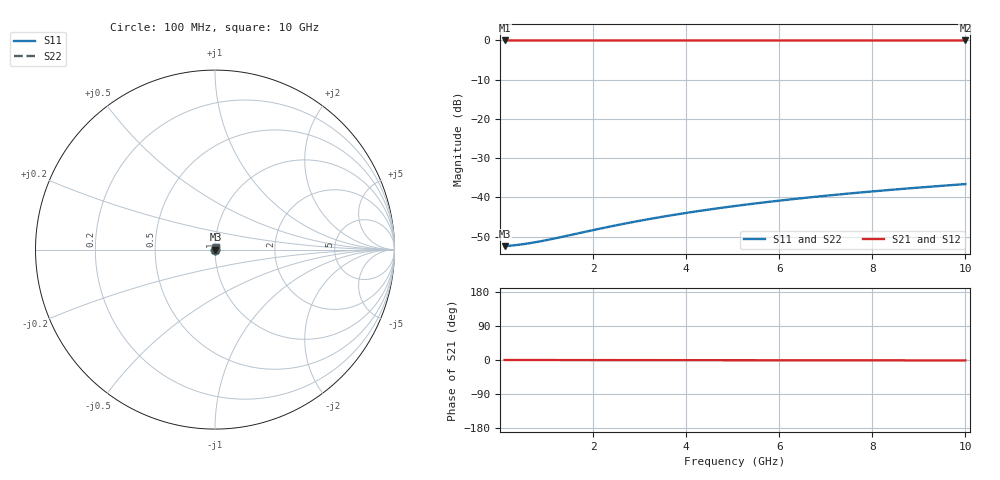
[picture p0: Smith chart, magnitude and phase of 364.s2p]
# Hz S RI R 50.00
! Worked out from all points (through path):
!   100 points, 100 MHz to 10 GHz, reference 50 ohm
!   highest |S21| = -0.02 dB at 100 MHz (marker M1); lowest = 0.0 dB at 10 GHz (marker M2)
!   lowest |S11| = -52.4 dB at 100 MHz (marker M3), VSWR 1.00, Z = 50.2 + j0.0146 ohm
!   |S11| at or under -10 dB: start of sweep to end of sweep
!   |S22| runs from -52.4 to -36.6 dB; largest |S21 - S12| = 0
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1e8  0.00239 0.000145  0.9976 -0.0002  0.9976 -0.0002  0.00239 0.000145
3e8  0.00242 0.000435  0.9976 -0.000601  0.9976 -0.000601  0.00242 0.000435
4e8  0.00243 0.00058  0.9976 -0.000801  0.9976 -0.000801  0.00243 0.00058
6e8  0.00244 0.000869  0.9976 -0.0012  0.9976 -0.0012  0.00244 0.000869
8e8  0.00245 0.00116  0.9975 -0.0016  0.9975 -0.0016  0.00245 0.00116
1e9  0.00247 0.00145  0.9975 -0.002  0.9975 -0.002  0.00247 0.00145
1.2e9  0.00248 0.00174  0.9975 -0.0024  0.9975 -0.0024  0.00248 0.00174
1.8e9  0.0025 0.00261  0.9975 -0.00361  0.9975 -0.00361  0.0025 0.00261
2.2e9  0.00252 0.00319  0.9975 -0.00441  0.9975 -0.00441  0.00252 0.00319
2.6e9  0.00253 0.00377  0.9975 -0.00521  0.9975 -0.00521  0.00253 0.00377
3e9  0.00255 0.00435  0.9974 -0.00601  0.9974 -0.00601  0.00255 0.00435
3.4e9  0.00256 0.00493  0.9974 -0.00681  0.9974 -0.00681  0.00256 0.00493
3.8e9  0.00258 0.00551  0.9974 -0.00761  0.9974 -0.00761  0.00258 0.00551
4.2e9  0.00259 0.00608  0.9974 -0.00841  0.9974 -0.00841  0.00259 0.00608
4.6e9  0.00261 0.00666  0.9974 -0.00922  0.9974 -0.00922  0.00261 0.00666
5.1e9  0.00263 0.00739  0.9974 -0.0102  0.9974 -0.0102  0.00263 0.00739
5.9e9  0.00267 0.00855  0.9973 -0.0118  0.9973 -0.0118  0.00267 0.00855
6.7e9  0.00271 0.00971  0.9973 -0.0134  0.9973 -0.0134  0.00271 0.00971
7.5e9  0.00275 0.0109  0.9972 -0.015  0.9972 -0.015  0.00275 0.0109
8.4e9  0.0028 0.0122  0.9972 -0.0168  0.9972 -0.0168  0.0028 0.0122
9.2e9  0.00285 0.0133  0.9971 -0.0184  0.9971 -0.0184  0.00285 0.0133
1e10  0.00291 0.0145  0.9971 -0.02  0.9971 -0.02  0.00291 0.0145
